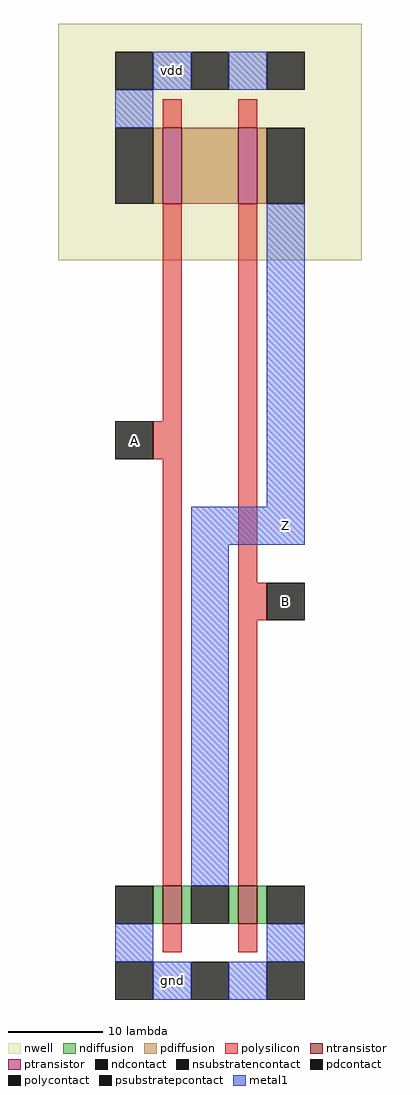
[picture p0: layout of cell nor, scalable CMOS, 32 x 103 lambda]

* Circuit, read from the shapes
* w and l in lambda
.subckt nor A B Z gnd vdd
M1 Z A gnd gnd nfet w=4 l=2
M2 gnd B Z gnd nfet w=4 l=2
M3 n1 A vdd vdd pfet w=8 l=2
M4 Z B n1 vdd pfet w=8 l=2
.ends

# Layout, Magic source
magic
tech scmos
<< nwell >>
rect -15 28 17 53
<< ntransistor >>
rect -4 -42 -2 -38
rect 4 -42 6 -38
<< ptransistor >>
rect -4 34 -2 42
rect 4 34 6 42
<< ndiffusion >>
rect -5 -42 -4 -38
rect -2 -42 -1 -38
rect 3 -42 4 -38
rect 6 -42 7 -38
<< pdiffusion >>
rect -5 34 -4 42
rect -2 34 4 42
rect 6 34 7 42
<< ndcontact >>
rect -9 -42 -5 -38
rect -1 -42 3 -38
rect 7 -42 11 -38
<< pdcontact >>
rect -9 34 -5 42
rect 7 34 11 42
<< psubstratepcontact >>
rect -9 -50 -5 -46
rect -1 -50 3 -46
rect 7 -50 11 -46
<< nsubstratencontact >>
rect -9 46 -5 50
rect -1 46 3 50
rect 7 46 11 50
<< polysilicon >>
rect -4 42 -2 45
rect 4 42 6 45
rect -4 11 -2 34
rect -5 7 -2 11
rect -4 -38 -2 7
rect 4 -6 6 34
rect 4 -10 7 -6
rect 4 -38 6 -10
rect -4 -45 -2 -42
rect 4 -45 6 -42
<< polycontact >>
rect -9 7 -5 11
rect 7 -10 11 -6
<< metal1 >>
rect -5 46 -1 50
rect 3 46 7 50
rect -9 42 -5 46
rect 7 2 11 34
rect -1 -2 11 2
rect -1 -38 3 -2
rect -9 -46 -5 -42
rect 7 -46 11 -42
rect -5 -50 -1 -46
rect 3 -50 7 -46
<< labels >>
rlabel metal1 9 0 9 0 1 Z
rlabel polycontact -7 9 -7 9 1 A
rlabel polycontact 9 -8 9 -8 1 B
rlabel metal1 -3 -48 -3 -48 1 gnd
rlabel metal1 -3 48 -3 48 5 vdd
<< end >>
